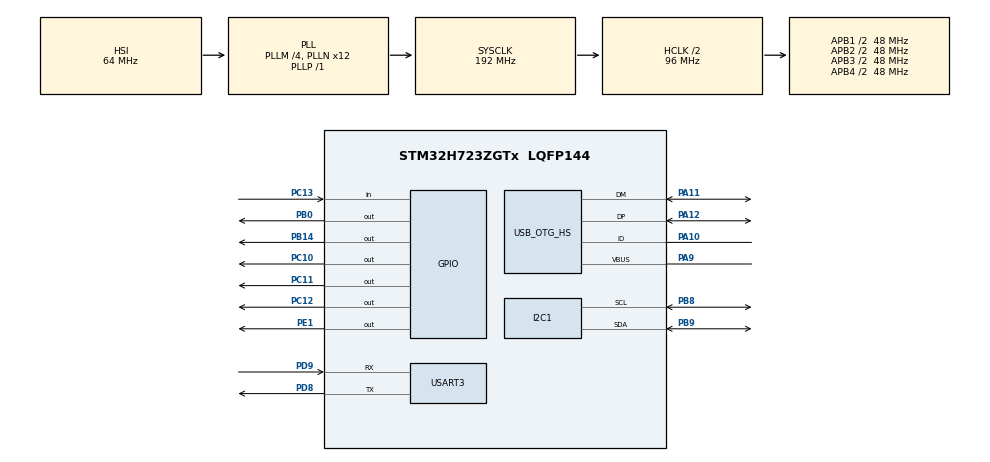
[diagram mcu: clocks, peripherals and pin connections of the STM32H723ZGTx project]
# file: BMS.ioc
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CORTEX_M7.default_mode_Activation=1
I2C1.Timing=0x20303E5D
Mcu.Family=STM32H7
Mcu.Name=STM32H723ZGTx
Mcu.Package=LQFP144
NUCLEO-H723ZG.BUTTON=1
NUCLEO-H723ZG.LD1=true
NUCLEO-H723ZG.LD2=true
NUCLEO-H723ZG.LD3=true
NUCLEO-H723ZG.VCP=false
NVIC.EXTI15_10_IRQn=true\:0\:0\:false\:false\:true\:false\:true\:true
NVIC.PriorityGroup=NVIC_PRIORITYGROUP_4
PA10.Mode=OTG/Dual-Role-Device-FS
PA10.Signal=USB_OTG_HS_ID
PA11.Mode=OTG/Dual-Role-Device-FS
PA11.Signal=USB_OTG_HS_DM
PA12.Mode=OTG/Dual-Role-Device-FS
PA12.Signal=USB_OTG_HS_DP
PA13(JTMS/SWDIO).GPIO_Label=SWDIO
PA13(JTMS/SWDIO).Signal=DEBUG_JTMS-SWDIO
PA14(JTCK/SWCLK).GPIO_Label=SWCLK
PA14(JTCK/SWCLK).Signal=DEBUG_JTCK-SWCLK
PA9.Mode=Activate_VBUS_FS
PA9.Signal=USB_OTG_HS_VBUS
PB0.Signal=GPIO_Output
PB14.Signal=GPIO_Output
PB8.GPIO_Pu=GPIO_PULLUP
PB8.GPIO_Speed=GPIO_SPEED_FREQ_HIGH
PB8.Mode=I2C
PB8.Signal=I2C1_SCL
PB9.GPIO_Pu=GPIO_PULLUP
PB9.GPIO_Speed=GPIO_SPEED_FREQ_HIGH
PB9.Mode=I2C
PB9.Signal=I2C1_SDA
PC10.Signal=GPIO_Output
PC11.Signal=GPIO_Output
PC12.Signal=GPIO_Output
PC13.Signal=GPIO_Input
PC14-OSC32_IN.Signal=RCC_OSC32_IN
PC15-OSC32_OUT.Signal=RCC_OSC32_OUT
PD8.Mode=Asynchronous
PD8.Signal=USART3_TX
PD9.Mode=Asynchronous
PD9.Signal=USART3_RX
PE1.Signal=GPIO_Output
ProjectManager.HeapSize=0x200
ProjectManager.StackSize=0x400
ProjectManager.TargetToolchain=STM32CubeIDE
RCC.ADCFreq_Value=608000000
RCC.APB1Freq_Value=48000000
RCC.APB2Freq_Value=48000000
RCC.APB3Freq_Value=48000000
RCC.APB4Freq_Value=48000000
RCC.CortexFreq_Value=192000000
RCC.D1PPRE=RCC_APB3_DIV2
RCC.D2PPRE1=RCC_APB1_DIV2
RCC.D2PPRE2=RCC_APB2_DIV2
RCC.D3PPRE=RCC_APB4_DIV2
RCC.DIVM1=4
RCC.DIVM2=1
RCC.DIVN1=12
RCC.DIVN2=19
RCC.DIVP1=1
RCC.DIVQ1=4
RCC.HCLKFreq_Value=96000000
RCC.HPRE=RCC_HCLK_DIV2
RCC.HSE_VALUE=8000000
RCC.PLLFRACN=0
RCC.SYSCLKFreq_VALUE=192000000
RCC.SYSCLKSource=RCC_SYSCLKSOURCE_PLLCLK
RCC.USBCLockSelection=RCC_USBCLKSOURCE_HSI48
RCC.USBFreq_Value=48000000
USART3.VirtualMode-Asynchronous=VM_ASYNC
VP_MEMORYMAP_VS_MEMORYMAP.Mode=CurAppReg
VP_NUCLEO-H723ZG_VS_BSP_COMMON.Mode=COMMON
board=NUCLEO-H723ZG

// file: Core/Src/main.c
/* USER CODE BEGIN Header */
/**
  ******************************************************************************
  * @file           : main.c
  * @brief          : Main program body
  ******************************************************************************
  * @attention
  *
  * Copyright (c) 2025 STMicroelectronics.
  * All rights reserved.
  *
  * This software is licensed under terms that can be found in the LICENSE file
  * in the root directory of this software component.
  * If no LICENSE file comes with this software, it is provided AS-IS.
  *
  ******************************************************************************
  */
/* USER CODE END Header */
#include "main.h"

/* USER CODE BEGIN Includes */
#include "BQ769x2Header.h"
#include <stdio.h>
#include <string.h>

/* USER CODE END Includes */

/* USER CODE BEGIN PTD */
typedef struct {
    float packVoltage;      // V 단위
    float current;          // mA 단위
    float temperatures[3];  // TS1, TS3, IntTemp (°C)
    uint8_t protection[5];  // OVP, UVP, OCP, OTP, UTP
    float cellVoltages[10]; // V 단위
    uint16_t cellBalancing;
} BMS_Data_t;

/* USER CODE END PTD */

/* USER CODE BEGIN PD */
#define DEV_ADDR  0x10  // BQ769x2 address is 0x10 including R/W bit or 0x8 as 7-bit address
#define CRC_Mode 0  // 0 for disabled, 1 for enabled
#define MAX_BUFFER_SIZE 10
#define R 0 // Read; Used in DirectCommands and Subcommands functions
#define W 1 // Write; Used in DirectCommands and Subcommands functions
#define W2 2 // Write data with two bytes; Used in Subcommands function

// UART 전송 관련
BMS_Data_t g_bmsData;
uint32_t lastTransmissionTime = 0;
const uint32_t TRANSMISSION_INTERVAL = 1000; // 1초마다 전송

/* USER CODE END PD */

I2C_HandleTypeDef hi2c1;

UART_HandleTypeDef huart3;

/* USER CODE BEGIN PV */

uint8_t RX_data [2] = {0x00, 0x00}; // used in several functions to store data read from BQ769x2
uint8_t RX_Power[2] = {0};
uint8_t RX_Reg0[2] = {0};
uint8_t RX_Reg12[2] = {0};
uint8_t RX_DeftOff[2] = {0};
uint8_t RX_VCellMode[2] = {0};
uint8_t RX_ProtectionA[2] = {0};
uint8_t RX_ProtectionB[2] = {0};
uint8_t RX_CellBalencing[2] = {0};
uint8_t RX_CuVThreshold[2] = {0};
uint8_t RX_COVThreshold[2] = {0};
uint8_t device_number[2] = {0};
uint8_t RX_Buf;

//used in Subcommands read function
// Global Variables for cell voltages, temperatures, Stack voltage, PACK Pin voltage, LD Pin voltage, CC2 current
uint16_t CellVoltage [16] = {0x00,0x00,0x00,0x00,0x00,0x00,0x00,0x00,0x00,0x00,0x00,0x00,0x00,0x00,0x00,0x00};
uint8_t RX_32Byte [32] = {0x00, 0x00, 0x00, 0x00, 0x00, 0x00, 0x00, 0x00, 0x00, 0x00, 0x00, 0x00, 0x00, 0x00, 0x00, 0x00,
   0x00, 0x00, 0x00, 0x00, 0x00, 0x00, 0x00, 0x00, 0x00, 0x00, 0x00, 0x00, 0x00, 0x00, 0x00, 0x00};
uint16_t Temperature [3] = {0};
uint16_t Stack_Voltage = 0x00;
uint16_t Pack_Voltage = 0x00;
uint16_t LD_Voltage = 0x00;
uint16_t Pack_Current = 0x00;

uint16_t CB_ActiveCells = 0x00;

uint16_t AlarmBits = 0x00;
uint8_t value_SafetyStatusA;  // Safety Status Register A
uint8_t value_SafetyStatusB;  // Safety Status Register B
uint8_t value_SafetyStatusC;  // Safety Status Register C
uint8_t value_PFStatusA;   // Permanent Fail Status Register A
uint8_t value_PFStatusB;   // Permanent Fail Status Register B
uint8_t value_PFStatusC;   // Permanent Fail Status Register C
uint8_t FET_Status;  // FET Status register contents  - Shows states of FETs

uint8_t   UV_Fault = 0;   // under-voltage fault state
uint8_t   OV_Fault = 0;   // over-voltage fault state
uint8_t   SCD_Fault = 0;  // short-circuit fault state
uint8_t   OCD_Fault = 0;  // over-current fault state

uint8_t   OTINT_Fault = 0;
uint8_t   OTD_Fault = 0;
uint8_t   OTC_Fault = 0;

uint8_t PowerMode = 0;

uint8_t ProtectionsTriggered = 0; // Set to 1 if any protection triggers

uint8_t LD_ON = 0;   // Load Detect status bit
uint8_t DSG = 0;   // discharge FET state
uint8_t CHG = 0;   // charge FET state
uint8_t PCHG = 0;  // pre-charge FET state
uint8_t PDSG = 0;  // pre-discharge FET state

uint32_t AccumulatedCharge_Int; // in BQ769x2_READPASSQ func
uint32_t AccumulatedCharge_Frac;// in BQ769x2_READPASSQ func
uint32_t AccumulatedCharge_Time;// in BQ769x2_READPASSQ func

uint8_t Enable_Protection_A_Read[2] = {0x61, 0x92};

/* USER CODE END PV */

void SystemClock_Config(void);
static void MPU_Config(void);
static void MX_GPIO_Init(void);
static void MX_I2C1_Init(void);
static void MX_USB_OTG_HS_USB_Init(void);
static void MX_USART3_UART_Init(void);
/* USER CODE BEGIN PFP */
HAL_StatusTypeDef UART_Transmit_String(UART_HandleTypeDef *huart, char *str);
/* USER CODE END PFP */

/* USER CODE BEGIN 0 */
unsigned char Checksum(unsigned char *ptr, unsigned char len)
// Calculates the checksum when writing to a RAM register. The checksum is the inverse of the sum of the bytes.
{
   unsigned char i;
   unsigned char checksum = 0;

   for(i=0; i<len; i++)
      checksum += ptr[i];

   checksum = 0xff & ~checksum;

   return(checksum);
}

int I2C_ReadReg(uint8_t reg_addr, uint8_t *reg_data, uint8_t count)
{

   if( HAL_I2C_Mem_Read(&hi2c1, DEV_ADDR, reg_addr, 1, reg_data, count, 100) != HAL_OK) {
      return -1;
   }
   HAL_Delay(10);
   return 0;
}

int I2C_WriteReg(uint8_t reg_addr, uint8_t *reg_data, uint8_t count)
{

   if( HAL_I2C_Mem_Write(&hi2c1, DEV_ADDR, reg_addr, 1, reg_data, count, 100) != HAL_OK) {
         return -1;
      }
      HAL_Delay(10);
   return 0;
}

void BQ769x2_SetRegister(uint16_t reg_addr, uint32_t reg_data, uint8_t datalen)
{
   uint8_t TX_Buffer[2] = {0x00, 0x00};
   uint8_t TX_RegData[6] = {0x00, 0x00, 0x00, 0x00, 0x00, 0x00};

   //TX_RegData in little endian format
   TX_RegData[0] = reg_addr & 0xff;
   TX_RegData[1] = (reg_addr >> 8) & 0xff;
   TX_RegData[2] = reg_data & 0xff; //1st byte of data

   switch(datalen)
    {
      case 1: //1 byte datalength
            I2C_WriteReg(0x3E, TX_RegData, 3);
            HAL_Delay(10);
         TX_Buffer[0] = Checksum(TX_RegData, 3);
         TX_Buffer[1] = 0x05; //combined length of register address and data
            I2C_WriteReg(0x60, TX_Buffer, 2); // Write the checksum and length
            HAL_Delay(10);
         break;
      case 2: //2 byte datalength
         TX_RegData[3] = (reg_data >> 8) & 0xff;
         I2C_WriteReg(0x3E, TX_RegData, 4);
         HAL_Delay(10);
         TX_Buffer[0] = Checksum(TX_RegData, 4);
         TX_Buffer[1] = 0x06; //combined length of register address and data
            I2C_WriteReg(0x60, TX_Buffer, 2); // Write the checksum and length
            HAL_Delay(10);
         break;
      case 4: //4 byte datalength, Only used for CCGain and Capacity Gain
         TX_RegData[3] = (reg_data >> 8) & 0xff;
         TX_RegData[4] = (reg_data >> 16) & 0xff;
         TX_RegData[5] = (reg_data >> 24) & 0xff;
         I2C_WriteReg(0x3E, TX_RegData, 6);
         HAL_Delay(10);
         TX_Buffer[0] = Checksum(TX_RegData, 6);
         TX_Buffer[1] = 0x08; //combined length of register address and data
            I2C_WriteReg(0x60, TX_Buffer, 2); // Write the checksum and length
            HAL_Delay(10);
         break;
    }
}

void CommandSubcommands(uint16_t command) //For Command only Subcommands
// See the TRM or the BQ76952 header file for a full list of Command-only subcommands
{   //For DEEPSLEEP/SHUTDOWN subcommand you will need to call this function twice consecutively

   uint8_t TX_Reg[2] = {0x00, 0x00};

   //TX_Reg in little endian format
   TX_Reg[0] = command & 0xff;
   TX_Reg[1] = (command >> 8) & 0xff;

   I2C_WriteReg(0x3E,TX_Reg,2);
   HAL_Delay(10);
}

void Subcommands(uint16_t command, uint16_t data, uint8_t type)
// See the TRM or the BQ76952 header file for a full list of Subcommands
{
   //security keys and Manu_data writes dont work with this function (reading these commands works)
   //max readback size is 32 bytes i.e. DASTATUS, CUV/COV snapshot
   uint8_t TX_Reg[4] = {0x00, 0x00, 0x00, 0x00};
   uint8_t TX_Buffer[2] = {0x00, 0x00};

   //TX_Reg in little endian format
   TX_Reg[0] = command & 0xff;
   TX_Reg[1] = (command >> 8) & 0xff;

   if (type == R) {//read
      I2C_WriteReg(0x3E,TX_Reg,2);
      HAL_Delay(10);
      I2C_ReadReg(0x40, RX_32Byte, 32); //RX_32Byte is a global variable
   }
   else if (type == W) {
      //FET_Control, REG12_Control
      TX_Reg[2] = data & 0xff;
      I2C_WriteReg(0x3E,TX_Reg,3);
      HAL_Delay(10);
      TX_Buffer[0] = Checksum(TX_Reg, 3);
      TX_Buffer[1] = 0x05; //combined length of registers address and data
      I2C_WriteReg(0x60, TX_Buffer, 2);
      HAL_Delay(10);
   }
   else if (type == W2){ //write data with 2 bytes
      //CB_Active_Cells, CB_SET_LVL
      TX_Reg[2] = data & 0xff;
      TX_Reg[3] = (data >> 8) & 0xff;
      I2C_WriteReg(0x3E,TX_Reg,4);
      HAL_Delay(10);
      TX_Buffer[0] = Checksum(TX_Reg, 4);
      TX_Buffer[1] = 0x06; //combined length of registers address and data
      I2C_WriteReg(0x60, TX_Buffer, 2);
      HAL_Delay(10);
   }
}

void DirectCommands(uint8_t command, uint16_t data, uint8_t type)
// See the TRM or the BQ76952 header file for a full list of Direct Commands
{   //type: R = read, W = write
   uint8_t TX_data[2] = {0x00, 0x00};

   //little endian format
   TX_data[0] = data & 0xff;
   TX_data[1] = (data >> 8) & 0xff;

   if (type == R) {//Read
      I2C_ReadReg(command, RX_data, 2); //RX_data is a global variable
      HAL_Delay(10);
   }
   if (type == W) {//write
    //Control_status, alarm_status, alarm_enable all 2 bytes long
      I2C_WriteReg(command,TX_data,2);
      HAL_Delay(10);
   }
}

void Subcommand_WithData(uint16_t command, uint8_t *rx_buf, uint8_t rw)
{
    uint8_t tx_buf[2] = {command & 0xFF, (command >> 8) & 0xFF};

    if (rw == R) {
        I2C_WriteReg(0x3E, tx_buf, 2);
        HAL_Delay(2);
        I2C_ReadReg(0x40, rx_buf, 2);
        HAL_Delay(2);
    }
    // 필요시 write 동작도 추가 가능 (지금은 read만 사용 중)
}

void BQ769x2_Init() {
   // Configures all parameters in device RAM

   // Enter CONFIGUPDATE mode (Subcommand 0x0090) - It is required to be in CONFIG_UPDATE mode to program the device RAM settings
   // See TRM for full description of CONFIG_UPDATE mode
   CommandSubcommands(SET_CFGUPDATE);

   // After entering CONFIG_UPDATE mode, RAM registers can be programmed. When programming RAM, checksum and length must also be
   // programmed for the change to take effect. All of the RAM registers are described in detail in the BQ769x2 TRM.
   // An easier way to find the descriptions is in the BQStudio Data Memory screen. When you move the mouse over the register name,
   // a full description of the register and the bits will pop up on the screen.

   // 'Power Config' - 0x9234 = 0x2D80
   // Setting the DSLP_LDO bit allows the LDOs to remain active when the device goes into Deep Sleep mode
     // Set wake speed bits to 00 for best performance
   BQ769x2_SetRegister(PowerConfig, 0x2D80, 2);

   // 'REG0 Config' - set REG0_EN bit to enable pre-regulator
   BQ769x2_SetRegister(REG0Config, 0x01, 1);

   // 'REG12 Config' - Enable REG1 with 3.3V output (0x0D for 3.3V, 0x0F for 5V)
   BQ769x2_SetRegister(REG12Config, 0xFD, 1);

   // Set DFETOFF pin to control BOTH CHG and DSG FET - 0x92FB = 0x42 (set to 0x00 to disable)
   BQ769x2_SetRegister(DFETOFFPinConfig, 0x42, 1);

   // Set up ALERT Pin - 0x92FC = 0x2A
   // This configures the ALERT pin to drive high (REG1 voltage) when enabled.
   // The ALERT pin can be used as an interrupt to the MCU when a protection has triggered or new measurements are available
   BQ769x2_SetRegister(ALERTPinConfig, 0x2A, 1);

   // Set TS1 to measure Cell Temperature - 0x92FD = 0x07
   BQ769x2_SetRegister(TS1Config, 0x07, 1);

   // Set TS3 to measure FET Temperature - 0x92FF = 0x0F
   BQ769x2_SetRegister(TS3Config, 0x0F, 1);

   // Set HDQ to measure Cell Temperature - 0x9300 = 0x07
   BQ769x2_SetRegister(HDQPinConfig, 0x00, 1);  // No thermistor installed on EVM HDQ pin, so set to 0x00

   // 'VCell Mode' - Enable 16 cells - 0x9304 = 0x0000; Writing 0x0000 sets the default of 16 cells
   BQ769x2_SetRegister(VCellMode, 0x037B, 2);

   // Enable protections in 'Enabled Protections A' 0x9261 = 0xBC
   // Enables SCD (short-circuit), OCD1 (over-current in discharge), OCC (over-current in charge),
   // COV (over-voltage), CUV (under-voltage)
   BQ769x2_SetRegister(EnabledProtectionsA, 0xBC, 1);

   // Enable all protections in 'Enabled Protections B' 0x9262 = 0xF7
   // Enables OTF (over-temperature FET), OTINT (internal over-temperature), OTD (over-temperature in discharge),
   // OTC (over-temperature in charge), UTINT (internal under-temperature), UTD (under-temperature in discharge), UTC (under-temperature in charge)
   BQ769x2_SetRegister(EnabledProtectionsB, 0xF0, 1);

   // 'Default Alarm Mask' - 0x..82 Enables the FullScan and ADScan bits, default value = 0xF800
   BQ769x2_SetRegister(DefaultAlarmMask, 0xF882, 2);

   // Set up Cell Balancing Configuration - 0x9335 = 0x03   -  Automated balancing while in Relax or Charge modes
   // Also see "Cell Balancing with BQ769x2 Battery Monitors" document on ti.com
   BQ769x2_SetRegister(BalancingConfiguration, 0x03, 1);

   // Set up CUV (under-voltage) Threshold - 0x9275 = 0x31 (2479 mV)
   // CUV Threshold is this value multiplied by 50.6mV
   BQ769x2_SetRegister(CUVThreshold, 0x31, 1);

   // Set up COV (over-voltage) Threshold - 0x9278 = 0x55 (4301 mV)
   // COV Threshold is this value multiplied by 50.6mV
   BQ769x2_SetRegister(COVThreshold, 0x55, 1);

   // Set up OCC (over-current in charge) Threshold - 0x9280 = 0x05 (10 mV = 10A across 1mOhm sense resistor) Units in 2mV
   BQ769x2_SetRegister(OCCThreshold, 0x05, 1);

   // Set up OCD1 Threshold - 0x9282 = 0x0A (20 mV = 20A across 1mOhm sense resistor) units of 2mV
   BQ769x2_SetRegister(OCD1Threshold, 0x0A, 1);

   // Set up SCD Threshold - 0x9286 = 0x05 (100 mV = 100A across 1mOhm sense resistor)  0x05=100mV
   BQ769x2_SetRegister(SCDThreshold, 0x05, 1);

   // Set up SCD Delay - 0x9287 = 0x03 (30 us) Enabled with a delay of (value - 1) * 15 µs; min value of 1
   BQ769x2_SetRegister(SCDDelay, 0x03, 1);

   // Set up SCDL Latch Limit to 1 to set SCD recovery only with load removal 0x9295 = 0x01
   // If this is not set, then SCD will recover based on time (SCD Recovery Time parameter).
   BQ769x2_SetRegister(SCDLLatchLimit, 0x01, 1);

   BQ769x2_SetRegister(OTDThreshold, 0x21, 1);

   BQ769x2_SetRegister(OTCThreshold, 0x3C, 1);

   BQ769x2_SetRegister(OTINTThreshold, 0x37, 1); //0x1E = 30, 0x23 = 35, 0x21 = 33

   // Exit CONFIGUPDATE mode  - Subcommand 0x0092

   BQ769x2_SetRegister(CellBalanceMinCellVRelax, 3600, 2);

   BQ769x2_SetRegister(CellBalanceMinDeltaRelax, 50, 1);

   BQ769x2_SetRegister(CellBalanceStopDeltaRelax, 5, 1);

   BQ769x2_SetRegister(CellBalanceMaxCells, 0x02, 1);

   CommandSubcommands(EXIT_CFGUPDATE);
}

//  ********************************* FET Control Commands  ***************************************

void BQ769x2_BOTHOFF () {
   // Disables all FETs using the DFETOFF (BOTHOFF) pin
   // The DFETOFF pin on the BQ76952EVM should be connected to the MCU board to use this function
   HAL_GPIO_WritePin(GPIOC, GPIO_PIN_12, GPIO_PIN_SET);  // DFETOFF pin (BOTHOFF) set high
}

void BQ769x2_RESET_BOTHOFF () {
   // Resets DFETOFF (BOTHOFF) pin
   // The DFETOFF pin on the BQ76952EVM should be connected to the MCU board to use this function
   HAL_GPIO_WritePin(GPIOC, GPIO_PIN_12, GPIO_PIN_RESET);  // DFETOFF pin (BOTHOFF) set low
}

void BQ769x2_ReadFETStatus() {
   // Read FET Status to see which FETs are enabled
   DirectCommands(FETStatus, 0x00, R);
   FET_Status = (RX_data[1]*256 + RX_data[0]);
   DSG = ((0x4 & RX_data[0])>>2);// discharge FET state
   CHG = (0x1 & RX_data[0]);// charge FET state
   PCHG = ((0x2 & RX_data[0])>>1);// pre-charge FET state
   PDSG = ((0x8 & RX_data[0])>>3);// pre-discharge FET state
}

// ********************************* End of FET Control Commands *********************************

// ********************************* BQ769x2 Power Commands   *****************************************

void BQ769x2_ShutdownPin() {
   // Puts the device into SHUTDOWN mode using the RST_SHUT pin
   // The RST_SHUT pin on the BQ76952EVM should be connected to the MCU board to use this function
   HAL_GPIO_WritePin(GPIOC, GPIO_PIN_10, GPIO_PIN_SET);  // Sets RST_SHUT pin
}

void BQ769x2_ReleaseShutdownPin() {
   // Releases the RST_SHUT pin
   // The RST_SHUT pin on the BQ76952EVM should be connected to the MCU board to use this function
   HAL_GPIO_WritePin(GPIOC, GPIO_PIN_10, GPIO_PIN_RESET);  // Resets RST_SHUT pin
}

// ********************************* End of BQ769x2 Power Commands   *****************************************

// ********************************* BQ769x2 Status and Fault Commands   *****************************************

uint16_t BQ769x2_ReadAlarmStatus() {
   // Read this register to find out why the ALERT pin was asserted
   DirectCommands(AlarmStatus, 0x00, R);
   return (RX_data[1]*256 + RX_data[0]);
}

void BQ769x2_ReadSafetyStatus() { //good example functions
   // Read Safety Status A/B/C and find which bits are set
   // This shows which primary protections have been triggered
   DirectCommands(SafetyStatusA, 0x00, R);
   value_SafetyStatusA = (RX_data[1]*256 + RX_data[0]);
   //Example Fault Flags
   UV_Fault = ((0x4 & RX_data[0])>>2);
   OV_Fault = ((0x8 & RX_data[0])>>3);
   SCD_Fault = ((0x8 & RX_data[1])>>3);
   OCD_Fault = ((0x2 & RX_data[1])>>1);

   DirectCommands(SafetyStatusB, 0x00, R);
   value_SafetyStatusB = (RX_data[1]*256 + RX_data[0]);
   OTINT_Fault = ((0x40 & RX_data[0])>>6);
   OTD_Fault = ((0x20 & RX_data[0])>>5);
   OTC_Fault = ((0x10 & RX_data[0])>>4);

   DirectCommands(SafetyStatusC, 0x00, R);
   value_SafetyStatusC = (RX_data[1]*256 + RX_data[0]);
   if ((value_SafetyStatusA + value_SafetyStatusB + value_SafetyStatusC) > 1) {
      ProtectionsTriggered = 1; }
   else {
      ProtectionsTriggered = 0; }
}

void BQ769x2_ReadPFStatus() {
   // Read Permanent Fail Status A/B/C and find which bits are set
   // This shows which permanent failures have been triggered
   DirectCommands(PFStatusA, 0x00, R);
   value_PFStatusA = (RX_data[1]*256 + RX_data[0]);
   DirectCommands(PFStatusB, 0x00, R);
   value_PFStatusB = (RX_data[1]*256 + RX_data[0]);
   DirectCommands(PFStatusC, 0x00, R);
   value_PFStatusC = (RX_data[1]*256 + RX_data[0]);
}

// ********************************* End of BQ769x2 Status and Fault Commands   *****************************************

// ********************************* BQ769x2 Measurement Commands   *****************************************

uint16_t BQ769x2_ReadVoltage(uint8_t command)
// This function can be used to read a specific cell voltage or stack / pack / LD voltage
{
   //RX_data is global var
   DirectCommands(command, 0x00, R);
   if(command >= Cell1Voltage && command <= Cell10Voltage) {//Cells 1 through 10 (0x14 to 0x26)
      return (RX_data[1]*256 + RX_data[0]); //voltage is reported in mV
   }
   else {//stack, Pack, LD
      return 10 * (RX_data[1]*256 + RX_data[0]); //voltage is reported in 0.01V units
   }

}
void BQ769x2_ReadAllVoltages()
// Reads all cell voltages, Stack voltage, PACK pin voltage, and LD pin voltage
{

  int cellvoltageholder = Cell1Voltage; //Cell1Voltage is 0x14
  for (int x = 0; x < 10; x++){//Reads all cell voltages
    CellVoltage[x] = BQ769x2_ReadVoltage(cellvoltageholder);
    cellvoltageholder = cellvoltageholder + 2;
  }
  Stack_Voltage = BQ769x2_ReadVoltage(StackVoltage);

  Pack_Voltage = 0;
  for (int y =0; y <10; y++) {
	  Pack_Voltage += CellVoltage[y];
  }

  LD_Voltage = BQ769x2_ReadVoltage(LDPinVoltage);
}

uint16_t BQ769x2_ReadCurrent()
// Reads PACK current
{
   DirectCommands(CC2Current, 0x00, R);
   return (RX_data[1]*256 + RX_data[0]);  // current is reported in mA
}

float BQ769x2_ReadTemperature(uint8_t command)
{
   DirectCommands(command, 0x00, R);
   //RX_data is a global var
   return (0.1 * (float)(RX_data[1]*256 + RX_data[0])) - 273.15;  // converts from 0.1K to Celcius
}

void BQ769x2_ReadPassQ(){ // Read Accumulated Charge and Time from DASTATUS6
   Subcommands(DASTATUS6, 0x00, R);
   AccumulatedCharge_Int = ((RX_32Byte[3]<<24) + (RX_32Byte[2]<<16) + (RX_32Byte[1]<<8) + RX_32Byte[0]); //Bytes 0-3
   AccumulatedCharge_Frac = ((RX_32Byte[7]<<24) + (RX_32Byte[6]<<16) + (RX_32Byte[5]<<8) + RX_32Byte[4]); //Bytes 4-7
   AccumulatedCharge_Time = ((RX_32Byte[11]<<24) + (RX_32Byte[10]<<16) + (RX_32Byte[9]<<8) + RX_32Byte[8]); //Bytes 8-11
}

void BQ769x2_CheckPowerMode()
{
    DirectCommands(ControlStatus, 0x00, R);  // RX_data[0]에 값 들어감
    PowerMode = (RX_data[0] >> 3) & 0x03;    // 비트 4:3만 추출
    // 0 = NORMAL, 1 = SLEEP, 2 = DEEPSLEEP, 3 = SHUTDOWN
}

void BQ769x2_CheckCellBalancing()
{
    Subcommands(CB_ACTIVE_CELLS, 0x00, R);  // 0x0074
    CB_ActiveCells = ((uint16_t)RX_32Byte[3] << 24) |
                     ((uint16_t)RX_32Byte[2] << 16) |
                     ((uint16_t)RX_32Byte[1] << 8) |
                     RX_32Byte[0];
}

// 실제 BMS 데이터 읽기 (I2C에서)
void BMS_ReadRealData(BMS_Data_t *bmsData) {
    // 전압 데이터 읽기
    BQ769x2_ReadAllVoltages();

    // Pack 전압: 0.01V 단위를 V 단위로 변환
    bmsData->packVoltage = (((Pack_Voltage * 0.001f) - 25.0) / 17.0)*100 ;

    // 셀 전압: mV를 V로 변환
    for (int i = 0; i < 10; i++) {
        bmsData->cellVoltages[i] = CellVoltage[i] * 0.001f; // mV to V
    }

    // 전류 읽기: mA를 A로 변환
    Pack_Current = BQ769x2_ReadCurrent();
    bmsData->current = (int16_t)Pack_Current; // mA to A (signed)

    // 온도 읽기
    bmsData->temperatures[0] = BQ769x2_ReadTemperature(TS1Temperature);
    bmsData->temperatures[1] = BQ769x2_ReadTemperature(TS3Temperature);
    bmsData->temperatures[2] = BQ769x2_ReadTemperature(0x68); // Internal temp

    // 안전 상태 읽기
    BQ769x2_ReadSafetyStatus();

    // Protection 상태 설정 (UV_Fault, OV_Fault는 반전)
    bmsData->protection[0] = OV_Fault; // OVP (반전)
    bmsData->protection[1] = UV_Fault; // UVP (반전)
    bmsData->protection[2] = OCD_Fault; // OCP
    bmsData->protection[3] = (OTC_Fault || OTD_Fault || OTINT_Fault); // OTP
    bmsData->protection[4] = 0; // UTP (해당 신호 없음)

    // 셀 밸런싱 상태
    BQ769x2_CheckCellBalancing();
    bmsData->cellBalancing = CB_ActiveCells;
}

// JSON 형태로 UART 전송
void BMS_SendJSON(BMS_Data_t *bmsData) {
    char jsonBuffer[1024];

    snprintf(jsonBuffer, sizeof(jsonBuffer),
        "{"
        "\"packVoltage\":%.2f,"
        "\"current\":%.3f,"
        "\"temperatures\":{"
            "\"ts1\":%.1f,"
            "\"ts3\":%.1f,"
            "\"intTemp\":%.1f"
        "},"
        "\"protection\":{"
            "\"ovp\":%s,"
            "\"uvp\":%s,"
            "\"ocp\":%s,"
            "\"otp\":%s,"
            "\"utp\":%s"
        "},"
        "\"cellVoltages\":[%.3f,%.3f,%.3f,%.3f,%.3f,%.3f,%.3f,%.3f,%.3f,%.3f],"
        "\"cellBalancing\":%d"
        "}\r\n",

        bmsData->packVoltage,
        bmsData->current,
        bmsData->temperatures[0],
        bmsData->temperatures[1],
        bmsData->temperatures[2],
        bmsData->protection[0] ? "true" : "false",
        bmsData->protection[1] ? "true" : "false",
        bmsData->protection[2] ? "true" : "false",
        bmsData->protection[3] ? "true" : "false",
        bmsData->protection[4] ? "true" : "false",
        bmsData->cellVoltages[0], bmsData->cellVoltages[1],
        bmsData->cellVoltages[2], bmsData->cellVoltages[3],
        bmsData->cellVoltages[4], bmsData->cellVoltages[5],
        bmsData->cellVoltages[6], bmsData->cellVoltages[7],
        bmsData->cellVoltages[8], bmsData->cellVoltages[9],
        bmsData->cellBalancing
    );

    UART_Transmit_String(&huart3, jsonBuffer);
}

   // UART 문자열 전송
   HAL_StatusTypeDef UART_Transmit_String(UART_HandleTypeDef *huart, char *str) {
      return HAL_UART_Transmit(huart, (uint8_t*)str, strlen(str), HAL_MAX_DELAY);
   }

   // BMS 작업 함수
   void BMS_Task(void) {
      uint32_t currentTime = HAL_GetTick();

      if (currentTime - lastTransmissionTime >= TRANSMISSION_INTERVAL) {
         // 실제 BMS 데이터 읽기
         BMS_ReadRealData(&g_bmsData);

         // UART로 JSON 데이터 전송
         BMS_SendJSON(&g_bmsData);

         lastTransmissionTime = currentTime;
      }
   }

/* USER CODE END 0 */

int main(void)
{

  /* MPU Configuration--------------------------------------------------------*/
  MPU_Config();

  /* MCU Configuration--------------------------------------------------------*/

  /* Reset of all peripherals, Initializes the Flash interface and the Systick. */
  HAL_Init();

  /* USER CODE BEGIN Init */
  HAL_Delay(500);
  /* USER CODE END Init */

  /* Configure the system clock */
  SystemClock_Config();

  /* Initialize all configured peripherals */
  MX_GPIO_Init();
  MX_I2C1_Init();
  MX_USB_OTG_HS_USB_Init();
  MX_USART3_UART_Init();
  /* USER CODE BEGIN 2 */

  HAL_GPIO_WritePin(GPIOC, GPIO_PIN_10, GPIO_PIN_RESET);  // RST_SHUT pin set low
  HAL_GPIO_WritePin(GPIOC, GPIO_PIN_12, GPIO_PIN_RESET);  // DFETOFF pin (BOTHOFF) set low
  HAL_Delay(10);

  CommandSubcommands(BQ769x2_RESET);  // Resets the BQ769x2 registers
  HAL_Delay(60);
  BQ769x2_Init();  // Configure all of the BQ769x2 register settings
  HAL_Delay(10);
  CommandSubcommands(FET_ENABLE); // Enable the CHG and DSG FETs
  HAL_Delay(10);
  CommandSubcommands(SLEEP_DISABLE); // Sleep mode is enabled by default. For this example, Sleep is disabled to
                                // demonstrate full-speed measurements in Normal mode.

  HAL_Delay(60); HAL_Delay(60); HAL_Delay(60); HAL_Delay(60);  //wait to start measurements after FETs close

  /* USER CODE END 2 */

  /* Initialize leds */
  BSP_LED_Init(LED_GREEN);
  BSP_LED_Init(LED_YELLOW);
  BSP_LED_Init(LED_RED);

  /* Initialize USER push-button, will be used to trigger an interrupt each time it's pressed.*/
  BSP_PB_Init(BUTTON_USER, BUTTON_MODE_EXTI);

  /* Infinite loop */
  while (1)
  {

    /* USER CODE BEGIN 3 */
     AlarmBits = BQ769x2_ReadAlarmStatus();
                       if (AlarmBits & 0x80) {  // Check if FULLSCAN is complete. If set, new measurements are available
                             BQ769x2_ReadAllVoltages();
                             Pack_Current = BQ769x2_ReadCurrent();
                             Temperature[0] = BQ769x2_ReadTemperature(TS1Temperature);
                             Temperature[1] = BQ769x2_ReadTemperature(TS3Temperature);
                             Temperature[2] = BQ769x2_ReadTemperature(0x68);

                          DirectCommands(AlarmStatus, 0x0080, W);  // Clear the FULLSCAN bit
                       }

                       // BMS 데이터 읽기 및 UART 전송 (1초마다)

                       BQ769x2_ReadSafetyStatus();

                       BQ769x2_ReadFETStatus();

                       BQ769x2_CheckCellBalancing();

                       BQ769x2_CheckPowerMode();

                       HAL_I2C_Mem_Write(&hi2c1, 0x10, 0x3E, 1, Enable_Protection_A_Read, 2, 100);
                       HAL_Delay(10);

                       HAL_I2C_Mem_Read(&hi2c1, 0x10, 0x40, 1, &RX_Buf, 1, 100);
                       HAL_Delay(10);

                       BMS_Task();

  }
  /* USER CODE END 3 */
}

void SystemClock_Config(void)
{
  RCC_OscInitTypeDef RCC_OscInitStruct = {0};
  RCC_ClkInitTypeDef RCC_ClkInitStruct = {0};

  /** Supply configuration update enable
  */
  HAL_PWREx_ConfigSupply(PWR_LDO_SUPPLY);

  /** Configure the main internal regulator output voltage
  */
  __HAL_PWR_VOLTAGESCALING_CONFIG(PWR_REGULATOR_VOLTAGE_SCALE2);

  while(!__HAL_PWR_GET_FLAG(PWR_FLAG_VOSRDY)) {}

  /** Initializes the RCC Oscillators according to the specified parameters
  * in the RCC_OscInitTypeDef structure.
  */
  RCC_OscInitStruct.OscillatorType = RCC_OSCILLATORTYPE_HSI48|RCC_OSCILLATORTYPE_HSI;
  RCC_OscInitStruct.HSIState = RCC_HSI_DIV1;
  RCC_OscInitStruct.HSICalibrationValue = 64;
  RCC_OscInitStruct.HSI48State = RCC_HSI48_ON;
  RCC_OscInitStruct.PLL.PLLState = RCC_PLL_ON;
  RCC_OscInitStruct.PLL.PLLSource = RCC_PLLSOURCE_HSI;
  RCC_OscInitStruct.PLL.PLLM = 4;
  RCC_OscInitStruct.PLL.PLLN = 12;
  RCC_OscInitStruct.PLL.PLLP = 1;
  RCC_OscInitStruct.PLL.PLLQ = 4;
  RCC_OscInitStruct.PLL.PLLR = 2;
  RCC_OscInitStruct.PLL.PLLRGE = RCC_PLL1VCIRANGE_3;
  RCC_OscInitStruct.PLL.PLLVCOSEL = RCC_PLL1VCOWIDE;
  RCC_OscInitStruct.PLL.PLLFRACN = 0;
  if (HAL_RCC_OscConfig(&RCC_OscInitStruct) != HAL_OK)
  {
    Error_Handler();
  }

  /** Initializes the CPU, AHB and APB buses clocks
  */
  RCC_ClkInitStruct.ClockType = RCC_CLOCKTYPE_HCLK|RCC_CLOCKTYPE_SYSCLK
                              |RCC_CLOCKTYPE_PCLK1|RCC_CLOCKTYPE_PCLK2
                              |RCC_CLOCKTYPE_D3PCLK1|RCC_CLOCKTYPE_D1PCLK1;
  RCC_ClkInitStruct.SYSCLKSource = RCC_SYSCLKSOURCE_PLLCLK;
  RCC_ClkInitStruct.SYSCLKDivider = RCC_SYSCLK_DIV1;
  RCC_ClkInitStruct.AHBCLKDivider = RCC_HCLK_DIV2;
  RCC_ClkInitStruct.APB3CLKDivider = RCC_APB3_DIV2;
  RCC_ClkInitStruct.APB1CLKDivider = RCC_APB1_DIV2;
  RCC_ClkInitStruct.APB2CLKDivider = RCC_APB2_DIV2;
  RCC_ClkInitStruct.APB4CLKDivider = RCC_APB4_DIV2;

  if (HAL_RCC_ClockConfig(&RCC_ClkInitStruct, FLASH_LATENCY_1) != HAL_OK)
  {
    Error_Handler();
  }
}

static void MX_I2C1_Init(void)
{

  hi2c1.Instance = I2C1;
  hi2c1.Init.Timing = 0x20303E5D;
  hi2c1.Init.OwnAddress1 = 0;
  hi2c1.Init.AddressingMode = I2C_ADDRESSINGMODE_7BIT;
  hi2c1.Init.DualAddressMode = I2C_DUALADDRESS_DISABLE;
  hi2c1.Init.OwnAddress2 = 0;
  hi2c1.Init.OwnAddress2Masks = I2C_OA2_NOMASK;
  hi2c1.Init.GeneralCallMode = I2C_GENERALCALL_DISABLE;
  hi2c1.Init.NoStretchMode = I2C_NOSTRETCH_DISABLE;
  if (HAL_I2C_Init(&hi2c1) != HAL_OK)
  {
    Error_Handler();
  }

  /** Configure Analogue filter
  */
  if (HAL_I2CEx_ConfigAnalogFilter(&hi2c1, I2C_ANALOGFILTER_ENABLE) != HAL_OK)
  {
    Error_Handler();
  }

  /** Configure Digital filter
  */
  if (HAL_I2CEx_ConfigDigitalFilter(&hi2c1, 0) != HAL_OK)
  {
    Error_Handler();
  }

}

static void MX_USART3_UART_Init(void)
{

  huart3.Instance = USART3;
  huart3.Init.BaudRate = 115200;
  huart3.Init.WordLength = UART_WORDLENGTH_8B;
  huart3.Init.StopBits = UART_STOPBITS_1;
  huart3.Init.Parity = UART_PARITY_NONE;
  huart3.Init.Mode = UART_MODE_TX_RX;
  huart3.Init.HwFlowCtl = UART_HWCONTROL_NONE;
  huart3.Init.OverSampling = UART_OVERSAMPLING_16;
  huart3.Init.OneBitSampling = UART_ONE_BIT_SAMPLE_DISABLE;
  huart3.Init.ClockPrescaler = UART_PRESCALER_DIV1;
  huart3.AdvancedInit.AdvFeatureInit = UART_ADVFEATURE_NO_INIT;
  if (HAL_UART_Init(&huart3) != HAL_OK)
  {
    Error_Handler();
  }
  if (HAL_UARTEx_SetTxFifoThreshold(&huart3, UART_TXFIFO_THRESHOLD_1_8) != HAL_OK)
  {
    Error_Handler();
  }
  if (HAL_UARTEx_SetRxFifoThreshold(&huart3, UART_RXFIFO_THRESHOLD_1_8) != HAL_OK)
  {
    Error_Handler();
  }
  if (HAL_UARTEx_DisableFifoMode(&huart3) != HAL_OK)
  {
    Error_Handler();
  }

}

static void MX_USB_OTG_HS_USB_Init(void)
{

}

static void MX_GPIO_Init(void)
{
  GPIO_InitTypeDef GPIO_InitStruct = {0};

  /* GPIO Ports Clock Enable */
  __HAL_RCC_GPIOC_CLK_ENABLE();
  __HAL_RCC_GPIOD_CLK_ENABLE();
  __HAL_RCC_GPIOA_CLK_ENABLE();
  __HAL_RCC_GPIOB_CLK_ENABLE();

  /*Configure GPIO pin Output Level */
  HAL_GPIO_WritePin(GPIOC, GPIO_PIN_10|GPIO_PIN_11|GPIO_PIN_12, GPIO_PIN_RESET);

  /*Configure GPIO pin : PA9 */
  GPIO_InitStruct.Pin = GPIO_PIN_9;
  GPIO_InitStruct.Mode = GPIO_MODE_INPUT;
  GPIO_InitStruct.Pull = GPIO_NOPULL;
  HAL_GPIO_Init(GPIOA, &GPIO_InitStruct);

  /*Configure GPIO pin : PA10 */
  GPIO_InitStruct.Pin = GPIO_PIN_10;
  GPIO_InitStruct.Mode = GPIO_MODE_AF_PP;
  GPIO_InitStruct.Pull = GPIO_NOPULL;
  GPIO_InitStruct.Speed = GPIO_SPEED_FREQ_LOW;
  GPIO_InitStruct.Alternate = GPIO_AF10_OTG1_HS;
  HAL_GPIO_Init(GPIOA, &GPIO_InitStruct);

  /*Configure GPIO pins : PC10 PC11 PC12 */
  GPIO_InitStruct.Pin = GPIO_PIN_10|GPIO_PIN_11|GPIO_PIN_12;
  GPIO_InitStruct.Mode = GPIO_MODE_OUTPUT_PP;
  GPIO_InitStruct.Pull = GPIO_NOPULL;
  GPIO_InitStruct.Speed = GPIO_SPEED_FREQ_LOW;
  HAL_GPIO_Init(GPIOC, &GPIO_InitStruct);

}

 /* MPU Configuration */

void MPU_Config(void)
{
  MPU_Region_InitTypeDef MPU_InitStruct = {0};

  /* Disables the MPU */
  HAL_MPU_Disable();

  /** Initializes and configures the Region and the memory to be protected
  */
  MPU_InitStruct.Enable = MPU_REGION_ENABLE;
  MPU_InitStruct.Number = MPU_REGION_NUMBER0;
  MPU_InitStruct.BaseAddress = 0x0;
  MPU_InitStruct.Size = MPU_REGION_SIZE_4GB;
  MPU_InitStruct.SubRegionDisable = 0x87;
  MPU_InitStruct.TypeExtField = MPU_TEX_LEVEL0;
  MPU_InitStruct.AccessPermission = MPU_REGION_NO_ACCESS;
  MPU_InitStruct.DisableExec = MPU_INSTRUCTION_ACCESS_DISABLE;
  MPU_InitStruct.IsShareable = MPU_ACCESS_SHAREABLE;
  MPU_InitStruct.IsCacheable = MPU_ACCESS_NOT_CACHEABLE;
  MPU_InitStruct.IsBufferable = MPU_ACCESS_NOT_BUFFERABLE;

  HAL_MPU_ConfigRegion(&MPU_InitStruct);
  /* Enables the MPU */
  HAL_MPU_Enable(MPU_PRIVILEGED_DEFAULT);

}

void Error_Handler(void)
{
  __disable_irq();
  while (1)
  {
  }
}
